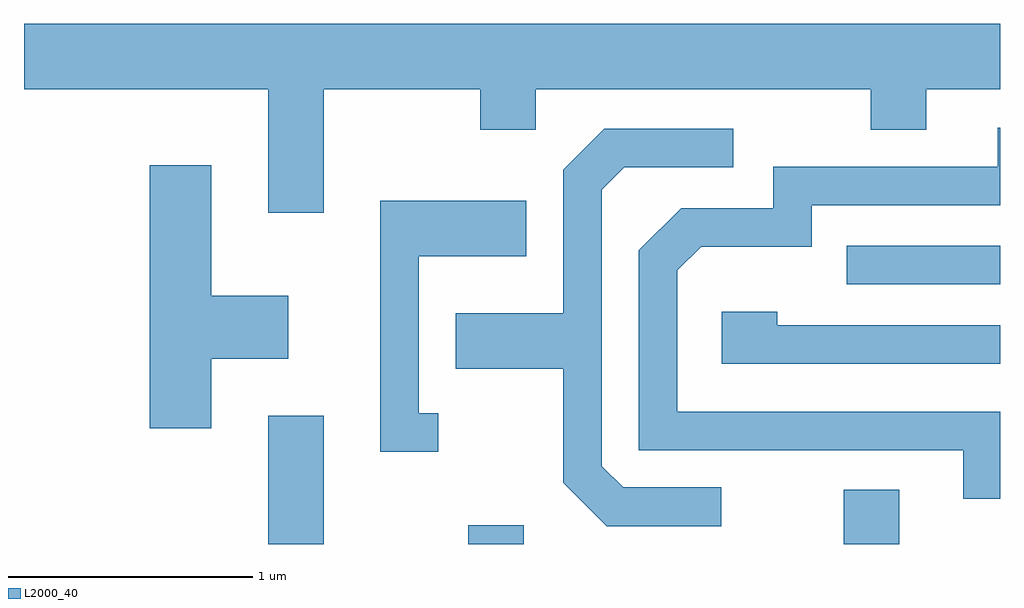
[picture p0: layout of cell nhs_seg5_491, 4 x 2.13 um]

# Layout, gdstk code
import gdstk
lib = gdstk.Library(unit=1e-6, precision=1e-09)
def R(c, l, rs):  # rectangles x0, y0, x1, y1
    for r in rs: c.add(gdstk.rectangle(r[:2], r[2:], *l))
def P(c, l, *ps):  # polygons
    for p in ps: c.add(gdstk.Polygon(p, *l))
L2000_40 = (2000, 40)

nhs_seg5_491 = lib.new_cell('nhs_seg5_491')
R(nhs_seg5_491, L2000_40, [(200.611,1426.072,200.839,1426.599), (201.431,1426.072,201.659,1426.149), (202.971,1426.072,203.199,1426.294), (202.983,1427.136,203.611,1427.294)])
P(nhs_seg5_491, L2000_40, [(200.839,1427.936),(201.481,1427.936),(201.481,1427.771),(201.709,1427.771),(201.709,1427.936),(203.081,1427.936),(203.081,1427.771),(203.309,1427.771),(203.309,1427.936),(203.611,1427.936),(203.611,1428.204),(199.611,1428.204),(199.611,1427.936),(200.611,1427.936),(200.611,1427.431),(200.839,1427.431)],
  [(203.611,1426.614),(202.289,1426.614),(202.289,1427.194),(202.387,1427.291),(202.839,1427.291),(202.839,1427.461),(203.611,1427.461),(203.611,1427.779),(203.601,1427.779),(203.601,1427.619),(202.681,1427.619),(202.681,1427.449),(202.304,1427.449),(202.131,1427.277),(202.131,1426.456),(203.461,1426.456),(203.461,1426.258),(203.611,1426.258)],
  [(202.468,1426.304),(202.067,1426.304),(201.979,1426.392),(201.979,1427.524),(202.072,1427.616),(202.518,1427.616),(202.518,1427.774),(201.989,1427.774),(201.821,1427.607),(201.821,1427.019),(201.381,1427.019),(201.381,1426.791),(201.821,1426.791),(201.821,1426.324),(201.999,1426.146),(202.468,1426.146)],
  [(200.379,1426.831),(200.694,1426.831),(200.694,1427.089),(200.379,1427.089),(200.379,1427.624),(200.126,1427.624),(200.126,1426.546),(200.379,1426.546)],
  [(201.308,1426.609),(201.229,1426.609),(201.229,1427.251),(201.669,1427.251),(201.669,1427.479),(201.071,1427.479),(201.071,1426.451),(201.308,1426.451)],
  [(203.611,1426.969),(202.699,1426.969),(202.699,1427.024),(202.471,1427.024),(202.471,1426.811),(203.611,1426.811)])

lib.write_gds('nhs_seg5_491.gds')
